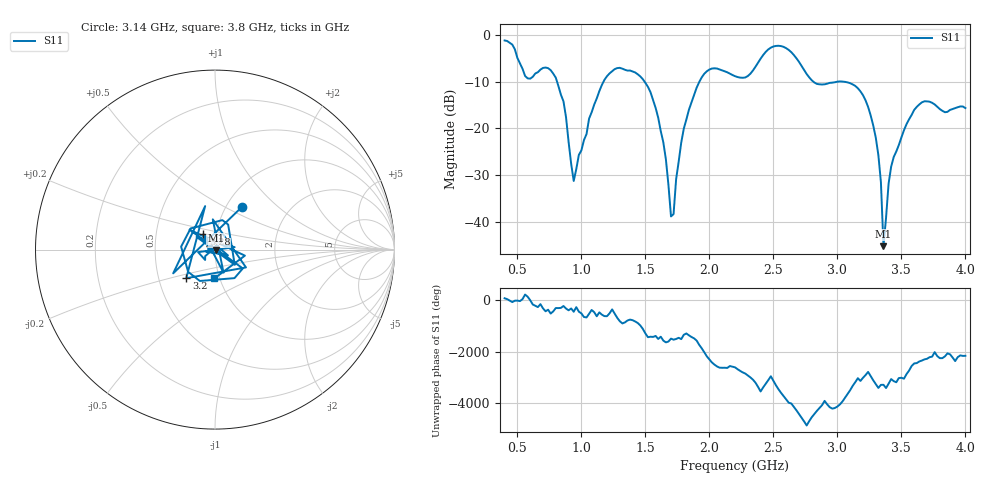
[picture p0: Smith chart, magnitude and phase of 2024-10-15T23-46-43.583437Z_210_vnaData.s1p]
! Created with skrf (http://scikit-rf.org).
# Hz S RI R 50.0
!freq ReS11 ImS11
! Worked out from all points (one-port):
!   181 points, 400 MHz to 4 GHz, reference 50 ohm
!   lowest |S11| = -45.2 dB at 3.36 GHz (marker M1), VSWR 1.01, Z = 50.4 - j0.396 ohm
!   |S11| at or under -10 dB: 809.4 MHz to 1.173 GHz (363.8 MHz wide, 36.7 % of centre); 1.493 GHz to 1.922 GHz (429.6 MHz wide, 25.2 % of centre); 3.039 GHz to end of sweep (the widest 3 of 4)
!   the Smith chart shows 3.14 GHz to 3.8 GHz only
!   S11 on the Smith chart (normalised r, x): 3.14 GHz: 1.18, +0.62; 3.2 GHz: 0.69, -0.23; 3.28 GHz: 0.87, +0.15; 3.8 GHz: 0.94, -0.31
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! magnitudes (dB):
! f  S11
! 400 MHz  -1.2
! 580 MHz  -9.3
! 760 MHz  -7.6
! 860 MHz  -14.2
! 940 MHz  -31.3
! 1.14 GHz  -12.1
! 1.3 GHz  -7.1
! 1.54 GHz  -12.3
! 1.64 GHz  -23.0
! 1.7 GHz  -38.9
! 1.72 GHz  -38.4
! 1.76 GHz  -27.1
! 1.84 GHz  -16.0
! 1.94 GHz  -9.1
! 2.2 GHz  -8.8
! 2.5 GHz  -2.5
! 2.66 GHz  -4.3
! 2.84 GHz  -10.5
! 3.1 GHz  -10.4
! 3.14 GHz  -10.9
! 3.2 GHz  -12.9
! 3.28 GHz  -19.4
! 3.34 GHz  -31.5
! 3.36 GHz  -45.2
! 3.42 GHz  -28.2
! 3.56 GHz  -18.1
! 3.8 GHz  -15.9
! 4 GHz  -15.7
